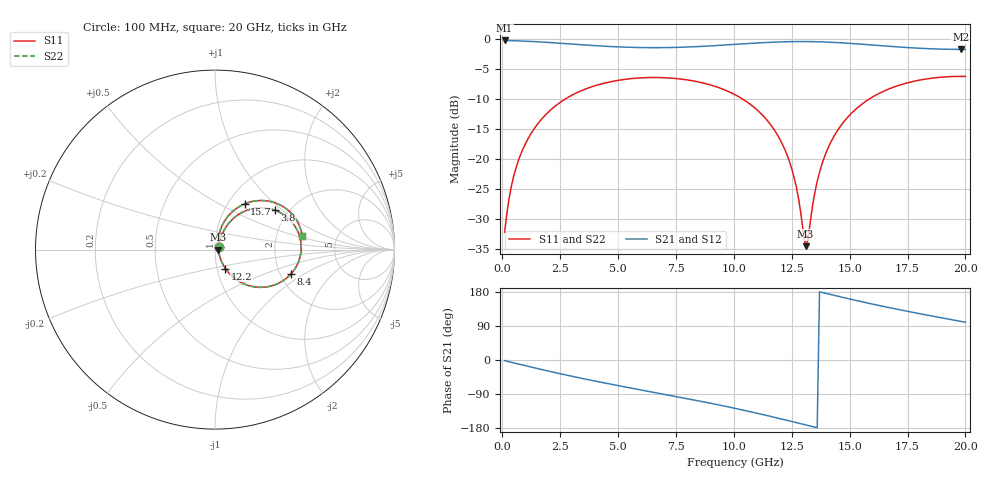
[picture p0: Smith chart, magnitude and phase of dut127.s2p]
! Touchstone file exported from HFSS 2026.1.0
!  File:  C:/ffzhzh/LocalFiles/Ansys_Project_Files/temp_train_TSV_RDL_127_1783048751_45820.aedt
!  Generated:  11:30:01 AM Jul  3, 2026
!  Design:  TSV_RDL
!  Project:  temp_train_TSV_RDL_127_1783048751_45820
! Variables:
!  h_bsmrdl = 5.65um
!  h_ox = 20um
!  h_rdl = 5um
!  h_sub = 98.08um
!  h_tmrdl = 2.71um
!  h_tsv = 98.08um
!  h_via = 3um
!  l_bsmrdl = 168.69um
!  l_sub = 4045.3um
!  l_tmrdl = 757.83um
!  m_sub = 200um
!  pitch = 55.81um
!  r_tsv = 14.96um
!  s_tmrdl = 10um
!  w_bsmrdl = 10.1um
!  w_sub = 500um
!  w_tmrdl = 25.87um
!  x_tsv_center1 = 770.765um
!  x_tsv_center2 = 949.555um
!  x_tsv_center3 = 1733.255um
!  x_tsv_center4 = 1912.045um
!  x_tsv_center5 = 2695.745um
!  x_tsv_center6 = 2874.535um
# GHz S MA R 50.000000
! Terminal data exported
! Port[1] = TM_RDL1_1_T1
! Port[2] = TM_RDL5_1_T1
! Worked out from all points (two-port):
!   200 points, 100 MHz to 20 GHz, reference 50 ohm
!   highest |S21| = -0.17 dB at 100 MHz (marker M1); lowest = -1.7 dB at 19.8 GHz (marker M2)
!   |S21| within 3 dB of the highest: start of sweep to end of sweep
!   lowest |S11| = -34.6 dB at 13.1 GHz (marker M3), VSWR 1.04, Z = 51.9 - j0.0661 ohm
!   |S11| at or under -10 dB: start of sweep to 2.703 GHz; 10.39 GHz to 15.83 GHz (5.438 GHz wide, 41.5 % of centre)
!   |S22| runs from -34.7 to -6.2 dB; largest |S21 - S12| = 1.8e-14
!   S11 on the Smith chart (normalised r, x): 100 MHz: 1.04, +0.03; 3.8 GHz: 1.70, +0.89; 8.4 GHz: 2.28, -0.77; 12.2 GHz: 1.10, -0.23; 15.7 GHz: 1.19, +0.67; 20 GHz: 2.81, +0.55
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0.1  0.02445 35.3  0.9803 -1.6  0.9803 -1.6  0.02445 35.3
! Gamma 0 0 0 0
! Port Impedance 50 0 50 0
0.3  0.04776 59.0  0.9779 -4.7  0.9779 -4.7  0.04776 59.0
0.5  0.0729 64.1  0.9748 -7.7  0.9748 -7.7  0.0729 64.1
1.1  0.1465 63.8  0.9647 -16.5  0.9647 -16.5  0.1466 63.8
2.1  0.2587 53.7  0.9408 -30.8  0.9408 -30.8  0.2587 53.7
3.5  0.3788 37.0  0.9005 -49.3  0.9005 -49.3  0.3788 37.0
3.8  0.3983 33.5  0.8924 -53.1  0.8924 -53.1  0.3984 33.5
6.8  0.48 -0.0  0.8533 -88.3  0.8533 -88.3  0.4801 -0.1
8.4  0.4443 -17.9  0.8706 -106.8  0.8706 -106.8  0.4443 -17.9
10.1  0.3413 -37.9  0.9107 -128.2  0.9107 -128.2  0.3414 -38.0
11.3  0.2262 -52.4  0.9407 -144.7  0.9407 -144.7  0.2262 -52.5
12.2  0.1205 -61.1  0.9558 -157.7  0.9558 -157.7  0.1205 -61.2
12.7  0.05819 -58.6  0.9595 -165.2  0.9595 -165.2  0.0582 -59.0
13.1  0.01871 -1.9  0.9596 -171.2  0.9596 -171.2  0.01839 -2.5
13.2  0.02111 34.4  0.9593 -172.6  0.9593 -172.6  0.02075 34.6
13.4  0.04081 65.7  0.958 -175.6  0.958 -175.6  0.04054 66.1
13.7  0.07758 74.5  0.9549 179.9  0.9549 179.9  0.07738 74.7
14.2  0.1398 73.5  0.9468 172.5  0.9468 172.5  0.1396 73.6
15.7  0.3041 57.0  0.9069 151.4  0.9069 151.4  0.3039 57.0
16.7  0.3858 45.1  0.8765 138.3  0.8765 138.3  0.3856 45.1
19.8  0.4913 10.8  0.8252 101.9  0.8252 101.9  0.4912 10.8
20  0.4909 8.6  0.8253 99.6  0.8253 99.6  0.4908 8.7
